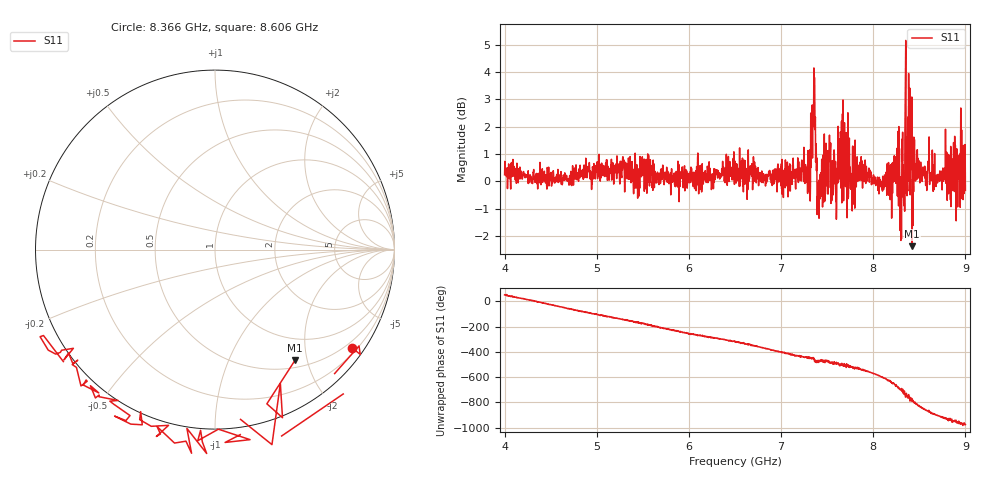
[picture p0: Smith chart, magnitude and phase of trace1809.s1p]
! Created with skrf 1.8.0 (http://scikit-rf.org).
# Hz S RI R 50.0
!freq ReS11 ImS11
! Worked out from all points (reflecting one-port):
!   1601 points, 4 GHz to 9 GHz, reference 50 ohm
!   lowest |S11| = -2.4 dB at 8.422 GHz (marker M1), VSWR 7.35, Z = 30.7 - j89.8 ohm
!   phase of S11 starts at 52 deg and turns -1030 deg over the sweep
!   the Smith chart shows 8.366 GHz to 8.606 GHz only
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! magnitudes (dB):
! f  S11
! 4 GHz  0.2
! 4.625 GHz  -0.1
! 5.25 GHz  -0.1
! 5.875 GHz  0.2
! 6.5 GHz  0.7
! 7.125 GHz  0.6
! 7.294 GHz  0.4
! 7.347 GHz  2.2
! 7.362 GHz  3.8
! 7.397 GHz  -0.9
! 7.412 GHz  -1.4
! 7.512 GHz  1.1
! 7.609 GHz  0.5
! 7.662 GHz  0.1
! 7.75 GHz  0.2
! 8.075 GHz  0.1
! 8.188 GHz  0.6
! 8.259 GHz  0.3
! 8.316 GHz  0.7
! 8.334 GHz  -0.9
! 8.35 GHz  3.9
! 8.375 GHz  -0.4
! 8.422 GHz  -2.4
! 8.447 GHz  1.5
! 8.466 GHz  0.1
! 8.694 GHz  0.2
! 8.972 GHz  0.7
! 9 GHz  -0.3
